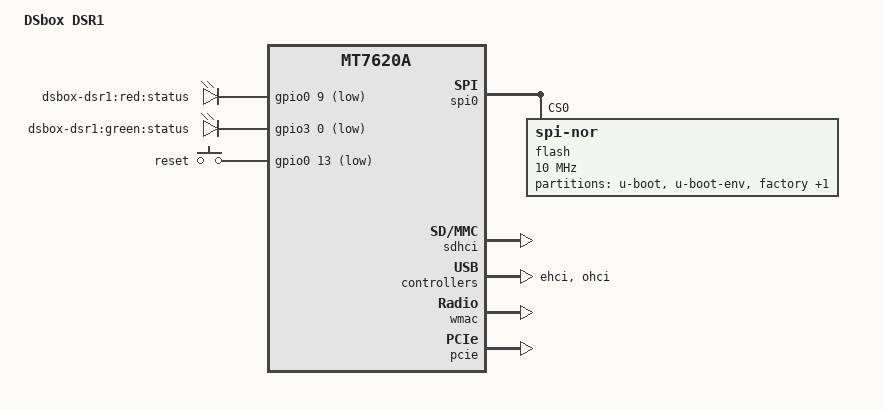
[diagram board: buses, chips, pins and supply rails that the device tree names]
/dts-v1/;

#include "mt7620a.dtsi"

#include <dt-bindings/gpio/gpio.h>
#include <dt-bindings/input/input.h>

/ {
	compatible = "dsbox,dsr1", "ralink,mt7620a-soc";
	model = "DSbox DSR1";

	aliases {
		led-boot = &led_green;
		led-failsafe = &led_green;
		led-running = &led_green;
		led-upgrade = &led_green;
	};

	chosen {
		bootargs = "console=ttyS0,115200";
	};

	leds {
		compatible = "gpio-leds";

		red {
			label = "dsbox-dsr1:red:status";
			gpios = <&gpio0 9 GPIO_ACTIVE_LOW>;
		};

		led_green: green {
			label = "dsbox-dsr1:green:status";
			gpios = <&gpio3 0 GPIO_ACTIVE_LOW>;
			default-state = "on";
		};
	};

	keys {
		compatible = "gpio-keys-polled";
		poll-interval = <20>;

		reset {
			label = "reset";
			gpios = <&gpio0 13 GPIO_ACTIVE_LOW>;
			linux,code = <KEY_RESTART>;
		};
	};
};

&spi0 {
	status = "okay";

	flash@0 {
		compatible = "jedec,spi-nor";
		reg = <0>;
		spi-max-frequency = <10000000>;

		partitions {
			compatible = "fixed-partitions";
			#address-cells = <1>;
			#size-cells = <1>;

			partition@0 {
				label = "u-boot";
				reg = <0x0 0x30000>;
				read-only;
			};

			partition@30000 {
				label = "u-boot-env";
				reg = <0x30000 0x10000>;
				read-only;
			};

			factory: partition@40000 {
				label = "factory";
				reg = <0x40000 0x10000>;
				read-only;
			};

			partition@50000 {
				compatible = "denx,uimage";
				label = "firmware";
				reg = <0x50000 0x1fb0000>;
			};
		};
	};
};

&gpio0 {
	status = "okay";
};

&gpio3 {
	status = "okay";
};

&sdhci {
	status = "okay";
};

&ehci {
	status = "okay";
};

&ohci {
	status = "okay";
};

&ethernet {
	mtd-mac-address = <&factory 0x4>;
	mediatek,portmap = "lw";
};

&wmac {
	ralink,mtd-eeprom = <&factory 0>;
};

&pcie {
	status = "okay";
};

&pcie0 {
	mt76@0,0 {
		reg = <0x0000 0 0 0 0>;
		mediatek,mtd-eeprom = <&factory 0x8000>;
		ieee80211-freq-limit = <5000000 6000000>;
	};
};

&pinctrl {
	state_default: pinctrl0 {
		default {
			ralink,group = "spi refclk", "uartf", "wled";
			ralink,function = "gpio";
		};
	};
};
